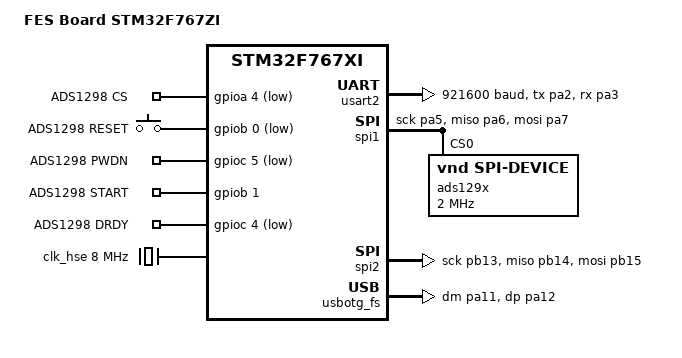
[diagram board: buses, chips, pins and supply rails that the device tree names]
/*
 * FES Board — STM32F767ZITx biopotential sensing board
 *
 * Wearable 8-channel biopotential AFE (ADS1298) + STM32F767 + Wi-Fi/BLE
 * (WT02C40C) + IMU (ICM-42688-P). Pin assignments extracted from the KiCad
 * schematic (U6 = STM32F767ZITx) and cross-checked in ADS1298_STM32_pinout.md.
 *
 * SPDX-License-Identifier: Apache-2.0
 */

/dts-v1/;
#include <st/f7/stm32f767Xi.dtsi>
#include <st/f7/stm32f767zitx-pinctrl.dtsi>
#include <zephyr/dt-bindings/gpio/gpio.h>

/ {
	model = "FES Board STM32F767ZI";
	compatible = "fes,fesboard";

	chosen {
		/*
		 * USART2 (PA2/PA3) is the link to the WT02C40C module. It also
		 * serves as the bring-up console — attach a 3V3 USB-UART to
		 * PA2(TX)/PA3(RX) while the nRF module is unpopulated. Move the
		 * console to USB-CDC or SEGGER RTT once those are up.
		 */
		zephyr,console = &usart2;
		zephyr,shell-uart = &usart2;
		zephyr,sram = &sram0;
		zephyr,flash = &flash0;
		zephyr,dtcm = &dtcm;
	};

	aliases {
		ads1298-spi = &spi1;
		imu-spi = &spi2;
		nrf-uart = &usart2;
	};

	/*
	 * ADS1298 discrete control lines that are not part of the SPI bus.
	 * Kept as a gpio container so the existing driver can fetch them by
	 * node label via GPIO_DT_SPEC_GET(DT_NODELABEL(ads129x_*), gpios).
	 * (A cleaner refactor is to move these onto the ads129x SPI node as
	 *  reset-gpios/drdy-gpios/... properties — see notes in the docs.)
	 */
	ads1298_ctrl: ads1298-ctrl {
		compatible = "gpio-keys";

		ads129x_cs: ads129x_cs {
			gpios = <&gpioa 4 (GPIO_ACTIVE_LOW | GPIO_PULL_UP)>; /* PA4 -> ADS pin 39 CS (manual) */
			label = "ADS1298 CS";
		};
		ads129x_reset: ads129x_reset {
			gpios = <&gpiob 0 GPIO_ACTIVE_LOW>;   /* PB0  -> ADS pin 36 RESET  */
			label = "ADS1298 RESET";
		};
		ads129x_pwdn: ads129x_pwdn {
			gpios = <&gpioc 5 GPIO_ACTIVE_LOW>;   /* PC5  -> ADS pin 35 PWDN   */
			label = "ADS1298 PWDN";
		};
		ads129x_start: ads129x_start {
			gpios = <&gpiob 1 GPIO_ACTIVE_HIGH>;  /* PB1  -> ADS pin 38 START  */
			label = "ADS1298 START";
		};
		ads129x_drdy: ads129x_drdy {
			gpios = <&gpioc 4 (GPIO_ACTIVE_LOW | GPIO_PULL_UP)>; /* PC4 -> ADS pin 47 DRDY */
			label = "ADS1298 DRDY";
		};
	};
};

/* ---------------------------------------------------------------------------
 * Clocks — real 8 MHz HSE crystal (Y1). Unlike the Nucleo, this is a genuine
 * crystal, so DO NOT set hse-bypass. PLL -> 216 MHz SYSCLK, 48 MHz for USB
 * (VCO 432 MHz / Q=9 = 48 MHz).
 * -------------------------------------------------------------------------*/
&clk_hse {
	clock-frequency = <DT_FREQ_M(8)>;
	status = "okay";
};

&clk_lsi {
	status = "okay";
};

&pll {
	div-m = <4>;
	mul-n = <216>;
	div-p = <2>;
	div-q = <9>;
	clocks = <&clk_hse>;
	status = "okay";
};

&rcc {
	clocks = <&pll>;
	clock-frequency = <DT_FREQ_M(216)>;
	ahb-prescaler = <1>;
	apb1-prescaler = <4>;
	apb2-prescaler = <2>;
};

/* ---------------------------------------------------------------------------
 * USART2 — WT02C40C (nRF5340) link + bring-up console. PA2 TX / PA3 RX.
 * -------------------------------------------------------------------------*/
&usart2 {
	pinctrl-0 = <&usart2_tx_pa2 &usart2_rx_pa3>;
	pinctrl-names = "default";
	current-speed = <921600>;   /* 4 ch x 1000 SPS needs > 12 kB/s */
	status = "okay";
};

/* ---------------------------------------------------------------------------
 * SPI1 — ADS1298 8-channel biopotential AFE (U2).
 *   PA5 SCK / PA6 MISO / PA7 MOSI, PA4 CS (manual GPIO), mode 1.
 * -------------------------------------------------------------------------*/
&spi1 {
	pinctrl-0 = <&spi1_sck_pa5 &spi1_miso_pa6 &spi1_mosi_pa7>;
	pinctrl-names = "default";
	/*
	 * No cs-gpios here on purpose: the ADS1298 driver toggles CS manually
	 * (see spi_cs_control) via the ads129x_cs node = PA4. Adding cs-gpios
	 * would make Zephyr auto-drive PA4 too and fight the driver.
	 */
	status = "okay";

	ads129x: ads129x@0 {
		compatible = "vnd,spi-device";      /* placeholder: hand-rolled driver, no binding yet */
		reg = <0>;
		spi-max-frequency = <2000000>;      /* 2 MHz for bring-up; ADS1298 allows up to 20 MHz */
		spi-cpha;                           /* SPI mode 1: CPOL=0, CPHA=1 (do NOT add spi-cpol) */
		spi-interframe-delay-ns = <0>;
	};
};

/* ---------------------------------------------------------------------------
 * SPI2 — ICM-42688-P 6-axis IMU (U5).
 *   PB13 SCK / PB14 MISO / PB15 MOSI, PD8 CS, PB12 INT1, PD9 INT2.
 * -------------------------------------------------------------------------*/
&spi2 {
	pinctrl-0 = <&spi2_sck_pb13 &spi2_miso_pb14 &spi2_mosi_pb15>;
	pinctrl-names = "default";
	cs-gpios = <&gpiod 8 (GPIO_ACTIVE_LOW | GPIO_PULL_UP)>;  /* PD8 -> IMU CS */
	status = "okay";

	icm42688: icm42688@0 {
		compatible = "invensense,icm42688";
		reg = <0>;
		spi-max-frequency = <8000000>;      /* 24 MHz max; 8 MHz safe for bring-up */
		int-gpios = <&gpiob 12 GPIO_ACTIVE_HIGH>; /* PB12 INT1 */
		/* PD9 (INT2) available as a second interrupt if needed */
		status = "disabled";                /* enable once IMU firmware/CONFIG_ICM42688 is added */
	};
};

/* ---------------------------------------------------------------------------
 * USB OTG FS — USB-C data (PA11 D-, PA12 D+). PA9 is VBUS sense.
 * -------------------------------------------------------------------------*/
zephyr_udc0: &usbotg_fs {
	pinctrl-0 = <&usb_otg_fs_dm_pa11 &usb_otg_fs_dp_pa12>;
	pinctrl-names = "default";
	status = "okay";
};

/*
 * SWD (PA13 SWDIO / PA14 SWCLK) is enabled by default on STM32; no DT node
 * needed. Programmed via J1 (TC2030-NL) with the runners in board.cmake.
 */
